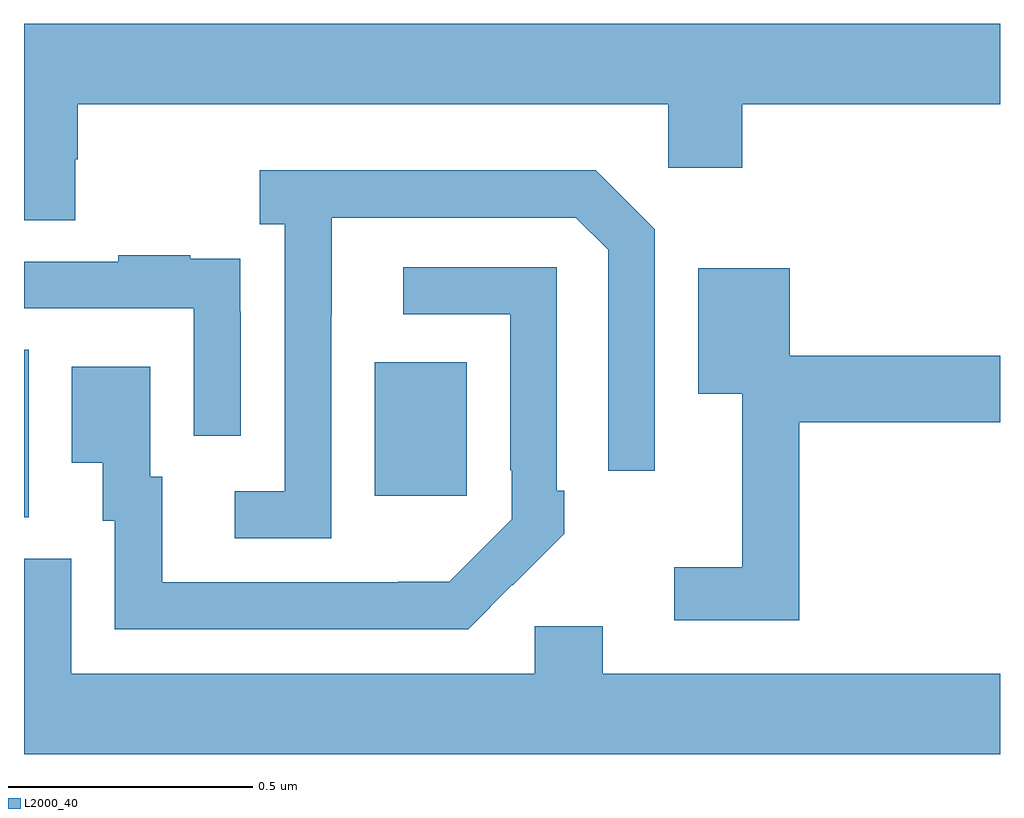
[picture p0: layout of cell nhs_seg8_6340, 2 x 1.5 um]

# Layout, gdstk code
import gdstk
lib = gdstk.Library(unit=1e-6, precision=1e-09)
def R(c, l, rs):  # rectangles x0, y0, x1, y1
    for r in rs: c.add(gdstk.rectangle(r[:2], r[2:], *l))
def P(c, l, *ps):  # polygons
    for p in ps: c.add(gdstk.Polygon(p, *l))
L2000_40 = (2000, 40)

nhs_seg8_6340 = lib.new_cell('nhs_seg8_6340')
R(nhs_seg8_6340, L2000_40, [(195,1115.653,195.01,1115.996), (195.719,1115.697,195.907,1115.971)])
P(nhs_seg8_6340, L2000_40, [(195.105,1116.387),(195.11,1116.387),(195.11,1116.5),(196.32,1116.5),(196.32,1116.369),(196.472,1116.369),(196.472,1116.5),(197,1116.5),(197,1116.664),(195,1116.664),(195,1116.262),(195.105,1116.262)],
  [(195.63,1116.067),(195.631,1116.067),(195.631,1116.267),(196.131,1116.267),(196.197,1116.201),(196.197,1115.748),(196.293,1115.748),(196.293,1116.243),(196.172,1116.364),(195.483,1116.364),(195.483,1116.254),(195.534,1116.254),(195.534,1115.706),(195.432,1115.706),(195.432,1115.61),(195.63,1115.61)],
  [(195.444,1116.074),(195.443,1116.074),(195.443,1116.183),(195.341,1116.183),(195.341,1116.19),(195.193,1116.19),(195.193,1116.177),(195,1116.177),(195,1116.081),(195.348,1116.081),(195.348,1115.82),(195.444,1115.82)],
  [(196.001,1115.515),(196.002,1115.514),(196.107,1115.619),(196.107,1115.707),(196.092,1115.707),(196.092,1116.165),(195.777,1116.165),(195.777,1116.069),(195.996,1116.069),(195.996,1115.749),(195.999,1115.749),(195.999,1115.649),(195.871,1115.521),(195.767,1115.521),(195.767,1115.52),(195.283,1115.52),(195.283,1115.736),(195.259,1115.736),(195.259,1115.962),(195.098,1115.962),(195.098,1115.765),(195.161,1115.765),(195.161,1115.646),(195.186,1115.646),(195.186,1115.424),(195.91,1115.424)],
  [(196.589,1115.848),(197,1115.848),(197,1115.984),(196.569,1115.984),(196.569,1116.163),(196.382,1116.163),(196.382,1115.906),(196.472,1115.906),(196.472,1115.551),(196.332,1115.551),(196.332,1115.442),(196.589,1115.442)],
  [(197,1115.332),(196.186,1115.332),(196.186,1115.43),(196.047,1115.43),(196.047,1115.332),(195.097,1115.332),(195.097,1115.568),(195,1115.568),(195,1115.168),(197,1115.168)])

lib.write_gds('nhs_seg8_6340.gds')
